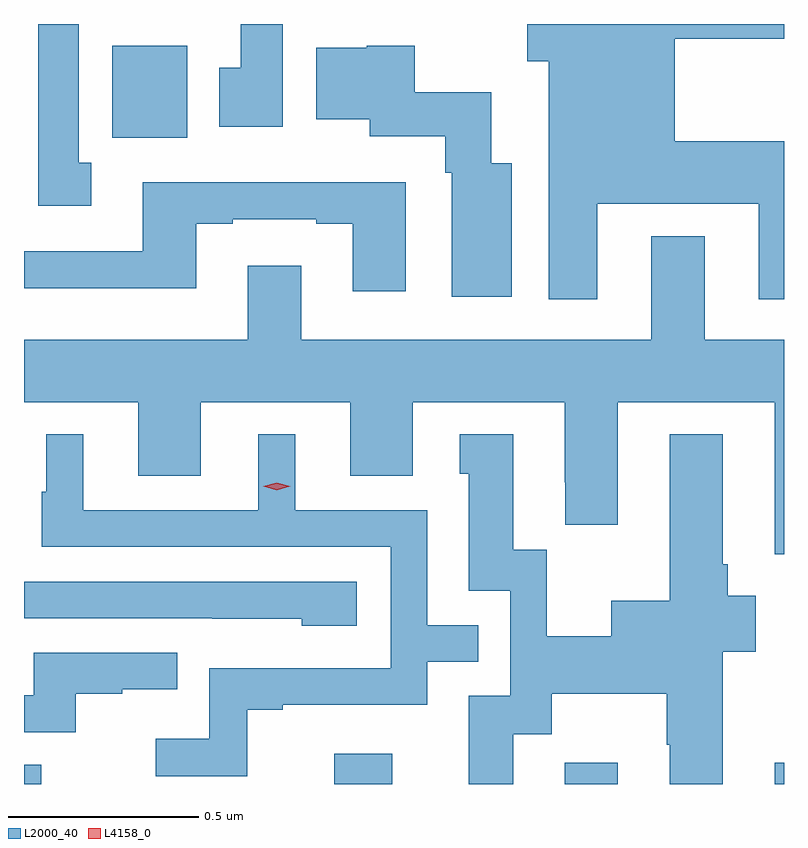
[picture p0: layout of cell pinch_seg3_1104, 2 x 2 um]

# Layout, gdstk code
import gdstk
lib = gdstk.Library(unit=1e-6, precision=1e-09)
def R(c, l, rs):  # rectangles x0, y0, x1, y1
    for r in rs: c.add(gdstk.rectangle(r[:2], r[2:], *l))
def P(c, l, *ps):  # polygons
    for p in ps: c.add(gdstk.Polygon(p, *l))
L2000_40 = (2000, 40)
L4158_0 = (4158, 0)

pinch_seg3_1104 = lib.new_cell('pinch_seg3_1104')
R(pinch_seg3_1104, L2000_40, [(365.374,673.271,365.419,673.322), (366.191,673.271,366.343,673.351), (366.797,673.271,366.937,673.327), (367.349,673.271,367.374,673.327), (365.606,674.972,365.803,675.214)])
P(pinch_seg3_1104, L2000_40, [(365.551,674.906),(365.518,674.906),(365.518,675.271),(365.411,675.271),(365.411,674.793),(365.551,674.793)],
  [(366.883,674.798),(367.307,674.798),(367.307,674.547),(367.374,674.547),(367.374,674.962),(367.087,674.962),(367.087,675.232),(367.374,675.232),(367.374,675.271),(366.698,675.271),(366.698,675.173),(366.755,675.173),(366.755,674.547),(366.883,674.547)],
  [(366.055,675.271),(365.945,675.271),(365.945,675.156),(365.888,675.156),(365.888,675),(366.055,675)],
  [(366.658,674.905),(366.604,674.905),(366.604,675.092),(366.402,675.092),(366.402,675.214),(366.276,675.214),(366.276,675.208),(366.143,675.208),(366.143,675.02),(366.284,675.02),(366.284,674.976),(366.483,674.976),(366.483,674.879),(366.5,674.879),(366.5,674.553),(366.658,674.553)],
  [(366.379,674.854),(365.687,674.854),(365.687,674.673),(365.374,674.673),(365.374,674.576),(365.827,674.576),(365.827,674.745),(365.923,674.745),(365.923,674.757),(366.143,674.757),(366.143,674.745),(366.239,674.745),(366.239,674.568),(366.379,674.568)],
  [(367.374,674.44),(367.165,674.44),(367.165,674.713),(367.025,674.713),(367.025,674.44),(366.103,674.44),(366.103,674.635),(365.963,674.635),(365.963,674.44),(365.374,674.44),(365.374,674.276),(365.675,674.276),(365.675,674.082),(365.839,674.082),(365.839,674.276),(366.233,674.276),(366.233,674.082),(366.397,674.082),(366.397,674.276),(366.797,674.276),(366.797,674.065),(366.798,674.065),(366.798,673.953),(366.937,673.953),(366.937,674.276),(367.349,674.276),(367.349,673.875),(367.374,673.875)],
  [(366.661,673.402),(366.763,673.402),(366.763,673.508),(367.066,673.508),(367.066,673.374),(367.073,673.374),(367.073,673.271),(367.213,673.271),(367.213,673.619),(367.3,673.619),(367.3,673.766),(367.226,673.766),(367.226,673.849),(367.213,673.849),(367.213,674.191),(367.073,674.191),(367.073,673.753),(366.92,673.753),(366.92,673.66),(366.75,673.66),(366.75,673.887),(366.661,673.887),(366.661,674.191),(366.521,674.191),(366.521,674.088),(366.545,674.088),(366.545,673.779),(366.654,673.779),(366.654,673.503),(366.545,673.503),(366.545,673.271),(366.661,673.271)],
  [(365.961,673.467),(366.055,673.467),(366.055,673.479),(366.435,673.479),(366.435,673.593),(366.569,673.593),(366.569,673.689),(366.435,673.689),(366.435,673.992),(366.088,673.992),(366.088,674.191),(365.99,674.191),(365.99,673.992),(365.53,673.992),(365.53,674.191),(365.432,674.191),(365.432,674.04),(365.421,674.04),(365.421,673.896),(366.339,673.896),(366.339,673.575),(365.862,673.575),(365.862,673.39),(365.721,673.39),(365.721,673.292),(365.961,673.292)],
  [(366.25,673.803),(365.374,673.803),(365.374,673.707),(365.869,673.707),(365.869,673.706),(366.105,673.706),(366.105,673.688),(366.25,673.688)],
  [(365.51,673.509),(365.633,673.509),(365.633,673.52),(365.777,673.52),(365.777,673.617),(365.4,673.617),(365.4,673.505),(365.374,673.505),(365.374,673.407),(365.51,673.407)])
P(pinch_seg3_1104, L4158_0, [(366.039,674.044),(366.003,674.054),(366.003,674.054),(366.003,674.055),(366.039,674.064),(366.075,674.055),(366.075,674.054),(366.075,674.054)])

lib.write_gds('pinch_seg3_1104.gds')
